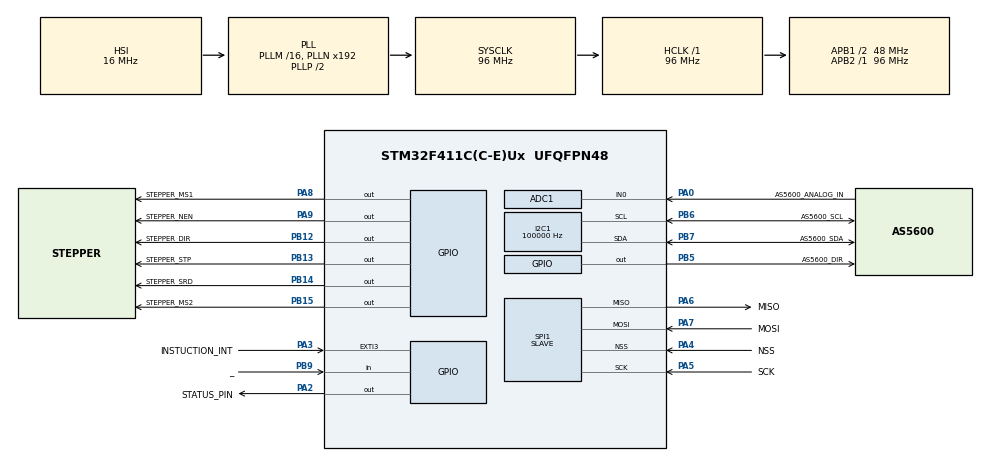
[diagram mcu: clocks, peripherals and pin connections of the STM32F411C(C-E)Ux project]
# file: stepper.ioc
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ADC1.Channel-0\#ChannelRegularConversion=ADC_CHANNEL_0
ADC1.ContinuousConvMode=ENABLE
ADC1.DMAContinuousRequests=ENABLE
ADC1.NbrOfConversionFlag=1
ADC1.Rank-0\#ChannelRegularConversion=1
ADC1.SamplingTime-0\#ChannelRegularConversion=ADC_SAMPLETIME_3CYCLES
ADC1.master=1
Dma.ADC1.2.Direction=DMA_PERIPH_TO_MEMORY
Dma.ADC1.2.FIFOMode=DMA_FIFOMODE_ENABLE
Dma.ADC1.2.FIFOThreshold=DMA_FIFO_THRESHOLD_FULL
Dma.ADC1.2.Instance=DMA2_Stream4
Dma.ADC1.2.MemBurst=DMA_MBURST_SINGLE
Dma.ADC1.2.MemDataAlignment=DMA_MDATAALIGN_HALFWORD
Dma.ADC1.2.MemInc=DMA_MINC_ENABLE
Dma.ADC1.2.Mode=DMA_CIRCULAR
Dma.ADC1.2.PeriphBurst=DMA_PBURST_SINGLE
Dma.ADC1.2.PeriphDataAlignment=DMA_PDATAALIGN_HALFWORD
Dma.ADC1.2.PeriphInc=DMA_PINC_DISABLE
Dma.ADC1.2.Priority=DMA_PRIORITY_LOW
Dma.Request0=SPI1_TX
Dma.Request1=SPI1_RX
Dma.Request2=ADC1
Dma.SPI1_RX.1.Direction=DMA_PERIPH_TO_MEMORY
Dma.SPI1_RX.1.FIFOMode=DMA_FIFOMODE_DISABLE
Dma.SPI1_RX.1.Instance=DMA2_Stream0
Dma.SPI1_RX.1.MemDataAlignment=DMA_MDATAALIGN_BYTE
Dma.SPI1_RX.1.MemInc=DMA_MINC_ENABLE
Dma.SPI1_RX.1.Mode=DMA_CIRCULAR
Dma.SPI1_RX.1.PeriphDataAlignment=DMA_PDATAALIGN_BYTE
Dma.SPI1_RX.1.PeriphInc=DMA_PINC_DISABLE
Dma.SPI1_RX.1.Priority=DMA_PRIORITY_VERY_HIGH
Dma.SPI1_TX.0.Direction=DMA_MEMORY_TO_PERIPH
Dma.SPI1_TX.0.FIFOMode=DMA_FIFOMODE_DISABLE
Dma.SPI1_TX.0.Instance=DMA2_Stream3
Dma.SPI1_TX.0.MemDataAlignment=DMA_MDATAALIGN_BYTE
Dma.SPI1_TX.0.MemInc=DMA_MINC_ENABLE
Dma.SPI1_TX.0.Mode=DMA_CIRCULAR
Dma.SPI1_TX.0.PeriphDataAlignment=DMA_PDATAALIGN_BYTE
Dma.SPI1_TX.0.PeriphInc=DMA_PINC_DISABLE
Dma.SPI1_TX.0.Priority=DMA_PRIORITY_HIGH
I2C1.ClockSpeed=100000
I2C1.NoStretchMode=I2C_NOSTRETCH_DISABLE
Mcu.Family=STM32F4
Mcu.Name=STM32F411C(C-E)Ux
Mcu.Package=UFQFPN48
NVIC.DMA2_Stream0_IRQn=true\:0\:0\:false\:false\:true\:false\:true\:true
NVIC.DMA2_Stream3_IRQn=true\:0\:0\:false\:false\:true\:false\:true\:true
NVIC.DMA2_Stream4_IRQn=true\:0\:0\:false\:false\:true\:false\:true\:true
NVIC.EXTI3_IRQn=true\:0\:0\:false\:false\:true\:true\:true\:true
NVIC.I2C1_EV_IRQn=true\:0\:0\:false\:false\:true\:true\:true\:true
NVIC.PriorityGroup=NVIC_PRIORITYGROUP_4
NVIC.SPI1_IRQn=true\:1\:0\:true\:false\:true\:true\:true\:true
NVIC.TIM1_UP_TIM10_IRQn=true\:2\:0\:true\:false\:true\:true\:true\:true
PA0-WKUP.GPIO_Label=AS5600_ANALOG_IN
PA0-WKUP.Signal=ADCx_IN0
PA2.GPIO_Label=STATUS_PIN
PA2.GPIO_ModeDefaultOutputPP=GPIO_MODE_OUTPUT_OD
PA2.GPIO_PuPd=GPIO_NOPULL
PA2.Signal=GPIO_Output
PA3.GPIO_Label=INSTUCTION_INT
PA3.GPIO_ModeDefaultEXTI=GPIO_MODE_IT_FALLING
PA3.GPIO_PuPd=GPIO_PULLUP
PA3.Signal=GPXTI3
PA4.GPIO_Label=NSS
PA4.Mode=NSS_Signal_Hard_Input
PA4.Signal=SPI1_NSS
PA5.GPIO_Label=SCK
PA5.Mode=Full_Duplex_Slave
PA5.Signal=SPI1_SCK
PA6.GPIO_Label=MISO
PA6.Mode=Full_Duplex_Slave
PA6.Signal=SPI1_MISO
PA7.GPIO_Label=MOSI
PA7.Mode=Full_Duplex_Slave
PA7.Signal=SPI1_MOSI
PA8.GPIO_Label=STEPPER_MS1
PA8.GPIO_ModeDefaultOutputPP=GPIO_MODE_OUTPUT_OD
PA8.GPIO_PuPd=GPIO_NOPULL
PA8.GPIO_Speed=GPIO_SPEED_FREQ_MEDIUM
PA8.Signal=GPIO_Output
PA9.GPIO_Label=STEPPER_NEN
PA9.GPIO_ModeDefaultOutputPP=GPIO_MODE_OUTPUT_OD
PA9.GPIO_PuPd=GPIO_NOPULL
PA9.GPIO_Speed=GPIO_SPEED_FREQ_MEDIUM
PA9.PinState=GPIO_PIN_SET
PA9.Signal=GPIO_Output
PB12.GPIO_Label=STEPPER_DIR
PB12.GPIO_ModeDefaultOutputPP=GPIO_MODE_OUTPUT_OD
PB12.GPIO_PuPd=GPIO_NOPULL
PB12.GPIO_Speed=GPIO_SPEED_FREQ_HIGH
PB12.PinState=GPIO_PIN_RESET
PB12.Signal=GPIO_Output
PB13.GPIO_Label=STEPPER_STP
PB13.GPIO_ModeDefaultOutputPP=GPIO_MODE_OUTPUT_OD
PB13.GPIO_PuPd=GPIO_NOPULL
PB13.GPIO_Speed=GPIO_SPEED_FREQ_VERY_HIGH
PB13.Signal=GPIO_Output
PB14.GPIO_Label=STEPPER_SRD
PB14.GPIO_ModeDefaultOutputPP=GPIO_MODE_OUTPUT_OD
PB14.GPIO_PuPd=GPIO_NOPULL
PB14.GPIO_Speed=GPIO_SPEED_FREQ_MEDIUM
PB14.Signal=GPIO_Output
PB15.GPIO_Label=STEPPER_MS2
PB15.GPIO_ModeDefaultOutputPP=GPIO_MODE_OUTPUT_OD
PB15.GPIO_PuPd=GPIO_NOPULL
PB15.GPIO_Speed=GPIO_SPEED_FREQ_MEDIUM
PB15.Signal=GPIO_Output
PB5.GPIO_Label=AS5600_DIR
PB5.GPIO_ModeDefaultOutputPP=GPIO_MODE_OUTPUT_OD
PB5.GPIO_PuPd=GPIO_NOPULL
PB5.Signal=GPIO_Output
PB6.GPIO_Label=AS5600_SCL
PB6.Mode=I2C
PB6.Signal=I2C1_SCL
PB7.GPIO_Label=AS5600_SDA
PB7.Mode=I2C
PB7.Signal=I2C1_SDA
PB9.GPIO_Label=_
PB9.Signal=GPIO_Input
PH0\ -\ OSC_IN.Mode=HSE-External-Clock-Source
PH0\ -\ OSC_IN.Signal=RCC_OSC_IN
PH1\ -\ OSC_OUT.Mode=HSE-External-Clock-Source
PH1\ -\ OSC_OUT.Signal=RCC_OSC_OUT
ProjectManager.HeapSize=0x200
ProjectManager.StackSize=0x400
ProjectManager.TargetToolchain=STM32CubeIDE
RCC.48MHZClocksFreq_Value=48000000
RCC.AHBFreq_Value=96000000
RCC.APB1CLKDivider=RCC_HCLK_DIV2
RCC.APB1Freq_Value=48000000
RCC.APB1TimFreq_Value=96000000
RCC.APB2Freq_Value=96000000
RCC.APB2TimFreq_Value=96000000
RCC.CortexFreq_Value=96000000
RCC.HCLKFreq_Value=96000000
RCC.HSE_VALUE=25000000
RCC.HSI_VALUE=16000000
RCC.LSE_VALUE=32768
RCC.SYSCLKFreq_VALUE=96000000
RCC.SYSCLKSource=RCC_SYSCLKSOURCE_PLLCLK
RCC.VCOOutputFreq_Value=192000000
SH.ADCx_IN0.0=ADC1_IN0,IN0
SPI1.CLKPhase=SPI_PHASE_1EDGE
SPI1.Direction=SPI_DIRECTION_2LINES
SPI1.Mode=SPI_MODE_SLAVE
SPI1.VirtualNSS=VM_NSSHARD
SPI1.VirtualType=VM_SLAVE
TIM10.AutoReloadPreload=TIM_AUTORELOAD_PRELOAD_ENABLE
TIM10.ClockDivision=TIM_CLOCKDIVISION_DIV1
TIM10.Period=100
TIM10.Prescaler=9500
TIM2.ClockDivision=TIM_CLOCKDIVISION_DIV1
TIM2.Period=0xffffffff
TIM2.Prescaler=95
TIM5.Period=0xffffffff
TIM5.Prescaler=95
VP_TIM10_VS_ClockSourceINT.Mode=Enable_Timer
VP_TIM2_VS_ClockSourceINT.Mode=Internal
VP_TIM5_VS_ClockSourceINT.Mode=Internal
board=custom

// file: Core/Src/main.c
/* USER CODE BEGIN Header */
// STM32F411ceu6
/* USER CODE END Header */
#include "main.h"
#include "adc.h"
#include "dma.h"
#include "i2c.h"
#include "spi.h"
#include "tim.h"
#include "gpio.h"

/* USER CODE BEGIN PV */
MCU_State					state;					// structure that contains the current state of important variables
volatile MCU_Instruction	instruction;			// current instruction TODO: change -> to . and copy instruction into this variable <<<<<<<<<<<<<<<<<<<<<<<<<<<<<<<<<<<<<<<<<<<<<<<<<<<<<<<<<<<
volatile Linked_List*		queue;
volatile MCU_Instruction	instruction_input;		// instruction directly received from SPI (this will be put into queue if there is space)
AS5600_TypeDef*				sensor;

volatile double				AS5600_pos_f64;			// accumulator
volatile double				step_gain;				// - (backward) || + (forward) || 0 (idle) [uniform distribution between -1 and 1]
/* USER CODE END PV */

void SystemClock_Config(void);

/* USER CODE BEGIN 0 */
void set_status(uint8_t stat)	{ state.status |= stat;	}
void reset_status(uint8_t stat)	{ state.status &= ~stat;}

void delay_us(uint32_t n) { TIM2->CNT = 0; while(TIM2->CNT < n); }
void until_us(uint32_t n) { while(TIM2->CNT < n); }  // this will wait until the count register is set to a specific value this allows code to be ran while waiting
void set_motor_setting(MCU_Instruction* instruction) {
	GPIOA->ODR &= RST;
	switch(instruction->micro_step) {
	case 0: GPIOA->ODR |= M2; break;
	case 1: GPIOA->ODR |= M4; break;
	case 2: GPIOA->ODR |= M8; break;  // default is 1/8 micro stepping
	case 3: GPIOA->ODR |= M16; break;
	}
	HAL_GPIO_WritePin(STEPPER_SRD_GPIO_Port, STEPPER_SRD_Pin, instruction->srd_mode);
}
void euler_method(void) {  // typical execution time ~45 us
	register uint16_t pos_diff = (AS5600_pos_f64 - state.raw_angle);  // rotation detection
	state.pos.rotation += pos_diff > 2048; state.pos.rotation -= pos_diff < -2048;
	register double alpha = 1 / ((EULER_TAU / TIM5->CNT) + 1);
	AS5600_pos_f64 = (state.raw_angle * alpha) + ((1 - alpha) * AS5600_pos_f64);
	state.vel = (1e6 / TIM5->CNT) * ((uint16_t)AS5600_pos_f64 - state.pos.angle) * AS5600_RAD_CONV;  // rad / s
	state.pos.angle = (uint16_t)AS5600_pos_f64;
	TIM5->CNT = 0;
}  // TODO: integrate vel and acc <<<<<<<<<<<<<<<<<<<<<<<<<<<<<<<<<<<<<<<<<<<<<<<<<<<<<<<<<<<<<

void HAL_TIM_PeriodElapsedCallback(TIM_HandleTypeDef* htim) {
	if (htim != &htim10) { return; }
	//if (state.queue_size == 0) { return; }
	euler_method();  // update state.pos.angle, AS5600_delta_pos using the selected mode
	double target_delta = instruction.target - (double)state.pos.angle;

	// TODO: buffer older measurements
	// TODO: create optimal path or remove the 0 to 4096 jump in error when rotating
	// TODO: consider passing rotation dir with spi
	// TODO: add ease in ease out
	// TODO: tune interrupt timing
	// TODO: add the mode switching code back
	// TODO: different filter types: Infinite impulse response (IIR)

	// TODO: add continuous rotation space (-inf, inf) (software)
	// TODO: add defining rotation dir with SPI (this is obviously implicated with the previous TODO)
	// TODO: re-do: ease-in ease-out function
	// TODO: delete / re-do: pathfinding code
	// TODO: tune interrupt timing

	HAL_GPIO_WritePin(STEPPER_DIR_GPIO_Port, STEPPER_DIR_Pin, target_delta < 0);
	step_gain = MIN(1, ABS(target_delta / 1024));  // all deltas greater than 1/8 rotation are met by a gain of 100%
}

void HAL_SPI_TxRxCpltCallback(SPI_HandleTypeDef *hspi) {
	// only hspi1 is used so there is no need to check
	HAL_GPIO_WritePin(STATUS_PIN_GPIO_Port, STATUS_PIN_Pin, 1);
	if ((instruction_input.crc != crc16_dnp((uint8_t*)&instruction_input, offsetof(MCU_Instruction, crc)))) { set_status(CRC_ERROR); return; }  // reject instruction if crc does not match
	MCU_Instruction* new = malloc(sizeof(MCU_Instruction));
	memcpy(new, &instruction_input, sizeof(MCU_Instruction));
	push(queue, new);  // push to top of queue
	state.queue_size = queue->size;
	HAL_GPIO_WritePin(STATUS_PIN_GPIO_Port, STATUS_PIN_Pin, 0);  // signal to the arm computer that instruction is received correctly
}

void HAL_GPIO_EXTI_Callback(uint16_t GPIO_Pin) {
	// this will not instantly load next instruction
	if (GPIO_Pin == INSTUCTION_INT_Pin) {
		pop(queue);
		if (!queue->end) { return; }  // do not update instruction so that the position is held
		memcpy(&instruction, queue->start->data, sizeof(MCU_Instruction));
		set_motor_setting(&instruction);
		step_gain = 0;
	}
}
/* USER CODE END 0 */

int main(void)
{
  /* USER CODE BEGIN 1 */
	// TODO: MAKE SPI INPUT BUFFER like uart buffer !!!!!!!!!!!!!!!!!!!!!!!!!!!!!!!!!!!!!!!!!!!!!!!!!
	queue = new_list();

	// <TEST>  <<<<<<<<<<<<<<<<<<<<<<<<<<<<<<<<<<<<<<<<<<<<<<<<<<<<<<<<<<<<<<<<<<<<<<<<<<<<<<<<<<<<<<<<<<<<<<<<
	instruction.target = 1000;
	instruction.max_vel = 0;
	instruction.max_acc = 0;
	instruction.micro_step = 3;
	instruction.srd_mode = 1;
	instruction.action = 0xf;
	instruction.id = 0;
	instruction.instrution_id = 0;
	// </TEST>

	sensor = AS5600_new();
	sensor->i2c_handle = &hi2c1;
	sensor->dir_port = AS5600_DIR_GPIO_Port;
	sensor->dir_pin = AS5600_DIR_Pin;
	sensor->positive_rotation_direction = AS5600_DIR_CW;
	// TODO: test if hysteresis helps with rotation detection stability
	/* USER CODE END 1 */

	/* MCU Configuration--------------------------------------------------------*/

	/* Reset of all peripherals, Initializes the Flash interface and the Systick. */
	HAL_Init();

	/* Configure the system clock */
	SystemClock_Config();

	/* Initialize all configured peripherals */
	MX_GPIO_Init();
	MX_DMA_Init();
	MX_SPI1_Init();
	MX_I2C1_Init();
	MX_ADC1_Init();
	MX_TIM2_Init();
	MX_TIM5_Init();
	MX_TIM10_Init();
	/* USER CODE BEGIN 2 */
	// disable motor driver
	HAL_GPIO_WritePin(STEPPER_NEN_GPIO_Port, STEPPER_NEN_Pin, 1);

	// enable messages
	HAL_SPI_TransmitReceive_DMA(&hspi1, (uint8_t*)&state, (uint8_t*)&instruction_input, 32);

	// initialize AS5600 sensor
	set_status(SENSOR_ERROR);
	HAL_GPIO_WritePin(STATUS_PIN_GPIO_Port, STATUS_PIN_Pin, 1);  // set flag and set error code after first fault
	while (AS5600_init(sensor) != HAL_OK) {}  // the sensor has to be on for the code to work
	HAL_GPIO_WritePin(STATUS_PIN_GPIO_Port, STATUS_PIN_Pin, 0);  // reset flag
	reset_status(SENSOR_ERROR);  // reset error status (so that this isn't read later on)

	state.vel = 0.0;
	state.acc = 0.0;
	state.instrution_id = 0;
	state.queue_size = 0;
	state.micro_step = 0;
	state.srd_mode = 0;
	// initialize the state struct using AS5600 position values
	AS5600_get_angle(sensor, &state.raw_angle);
	state.pos.angle =	state.raw_angle;
	AS5600_pos_f64 =	state.raw_angle;  // set the current angle to the most accurate value for the euler method
  /* USER CODE END 2 */

  /* Infinite loop */
  /* USER CODE BEGIN WHILE */

	// all DMA connectors are configured in cyclic mode so these functions have to be called once
	/*  DISABLED FOR TESTING
	HAL_SPI_Receive_DMA(&hspi1, (uint8_t*)&instruction, 16);  // start data receiving loop
	HAL_SPI_Transmit_DMA(&hspi1, (uint8_t*)&state, 16);  // start data receiving loop
	*/

	// TODO: use flag pin to tell CTRL where MCU is in initialization cycle
	// start communication with CTRL
	HAL_TIM_Base_Start(&htim2);  // start timer_2 (for delays)
	HAL_TIM_Base_Start(&htim5);  // start timer_5 (for simulation time keeping)

	// start receiving ADC data
	HAL_ADC_Start_DMA(&hadc1, (uint32_t*)&state.raw_angle, 1);

	//instruction.pulse_delay = 74; // 74;  // safe operating range is from 75us and up

	// TODO: Add function to the INSTRUCT_GO interrupt pin that will start the stepping function
	// TODO: FIX ADC NOW IT STARTS FROM 500 AND HANGS ON 4096
	HAL_GPIO_WritePin(STEPPER_NEN_GPIO_Port, STEPPER_NEN_Pin, 0);  // TODO: remove this in final version
	TIM5->CNT = 0;
	HAL_TIM_Base_Start_IT(&htim10);  // start timer_10  (sensor interupt) [100Hz]
	while (1) {
		if (step_gain < MIN_STEPPER_GAIN) { continue; }  // make sure that the step delay is never greater than 0.75 s
		// dir is set in interrupt
		register uint16_t pulse_delay = MIN_STEPPER_DELAY / step_gain;
		HAL_GPIO_WritePin(STEPPER_STP_GPIO_Port, STEPPER_STP_Pin, 1);
		delay_us(pulse_delay);
		HAL_GPIO_WritePin(STEPPER_STP_GPIO_Port, STEPPER_STP_Pin, 0);
		delay_us(pulse_delay);
	}
    /* USER CODE END WHILE */

}

void SystemClock_Config(void)
{
  RCC_OscInitTypeDef RCC_OscInitStruct = {0};
  RCC_ClkInitTypeDef RCC_ClkInitStruct = {0};

  /** Configure the main internal regulator output voltage
  */
  __HAL_RCC_PWR_CLK_ENABLE();
  __HAL_PWR_VOLTAGESCALING_CONFIG(PWR_REGULATOR_VOLTAGE_SCALE1);

  /** Initializes the RCC Oscillators according to the specified parameters
  * in the RCC_OscInitTypeDef structure.
  */
  RCC_OscInitStruct.OscillatorType = RCC_OSCILLATORTYPE_HSI;
  RCC_OscInitStruct.HSIState = RCC_HSI_ON;
  RCC_OscInitStruct.HSICalibrationValue = RCC_HSICALIBRATION_DEFAULT;
  RCC_OscInitStruct.PLL.PLLState = RCC_PLL_ON;
  RCC_OscInitStruct.PLL.PLLSource = RCC_PLLSOURCE_HSI;
  RCC_OscInitStruct.PLL.PLLM = 16;
  RCC_OscInitStruct.PLL.PLLN = 192;
  RCC_OscInitStruct.PLL.PLLP = RCC_PLLP_DIV2;
  RCC_OscInitStruct.PLL.PLLQ = 4;
  if (HAL_RCC_OscConfig(&RCC_OscInitStruct) != HAL_OK)
  {
    Error_Handler();
  }

  /** Initializes the CPU, AHB and APB buses clocks
  */
  RCC_ClkInitStruct.ClockType = RCC_CLOCKTYPE_HCLK|RCC_CLOCKTYPE_SYSCLK
                              |RCC_CLOCKTYPE_PCLK1|RCC_CLOCKTYPE_PCLK2;
  RCC_ClkInitStruct.SYSCLKSource = RCC_SYSCLKSOURCE_PLLCLK;
  RCC_ClkInitStruct.AHBCLKDivider = RCC_SYSCLK_DIV1;
  RCC_ClkInitStruct.APB1CLKDivider = RCC_HCLK_DIV2;
  RCC_ClkInitStruct.APB2CLKDivider = RCC_HCLK_DIV1;

  if (HAL_RCC_ClockConfig(&RCC_ClkInitStruct, FLASH_LATENCY_3) != HAL_OK)
  {
    Error_Handler();
  }
}

void Error_Handler(void)
{
}
